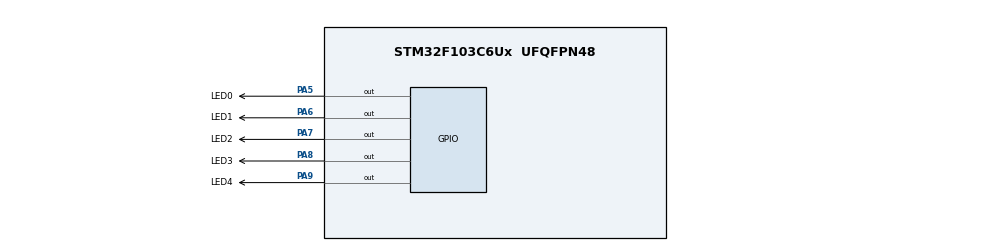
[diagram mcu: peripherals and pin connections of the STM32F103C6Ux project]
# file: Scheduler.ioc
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Mcu.Family=STM32F1
Mcu.Name=STM32F103C6Ux
Mcu.Package=UFQFPN48
NVIC.PriorityGroup=NVIC_PRIORITYGROUP_4
NVIC.TIM2_IRQn=true\:0\:0\:false\:false\:true\:true\:true
PA5.GPIO_Label=LED0
PA5.Signal=GPIO_Output
PA6.GPIO_Label=LED1
PA6.Signal=GPIO_Output
PA7.GPIO_Label=LED2
PA7.Signal=GPIO_Output
PA8.GPIO_Label=LED3
PA8.Signal=GPIO_Output
PA9.GPIO_Label=LED4
PA9.Signal=GPIO_Output
ProjectManager.HeapSize=0x200
ProjectManager.StackSize=0x400
ProjectManager.TargetToolchain=STM32CubeIDE
RCC.APB1Freq_Value=8000000
RCC.APB2Freq_Value=8000000
TIM2.Period=9
TIM2.Prescaler=7999
VP_SYS_VS_ND.Mode=No_Debug
VP_TIM2_VS_ClockSourceINT.Mode=Internal
board=custom

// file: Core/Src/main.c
/* USER CODE BEGIN Header */
/**
  ******************************************************************************
  * @file           : main.c
  * @brief          : Main program body
  ******************************************************************************
  * @attention
  *
  * <h2><center>&copy; Copyright (c) 2023 STMicroelectronics.
  * All rights reserved.</center></h2>
  *
  * This software component is licensed by ST under BSD 3-Clause license,
  * the "License"; You may not use this file except in compliance with the
  * License. You may obtain a copy of the License at:
  *                        opensource.org/licenses/BSD-3-Clause
  *
  ******************************************************************************
  */
/* USER CODE END Header */
#include "main.h"

/* USER CODE BEGIN Includes */
#include "scheduler.h"
/* USER CODE END Includes */

TIM_HandleTypeDef htim2;

void SystemClock_Config(void);
static void MX_GPIO_Init(void);
static void MX_TIM2_Init(void);
/* USER CODE BEGIN PFP */
void ToggleLed0();
void ToggleLed1();
void ToggleLed2();
void ToggleLed3();
void ToggleLed4();
/* USER CODE END PFP */

int main(void)
{

  /* MCU Configuration--------------------------------------------------------*/

  /* Reset of all peripherals, Initializes the Flash interface and the Systick. */
  HAL_Init();

  /* Configure the system clock */
  SystemClock_Config();

  /* Initialize all configured peripherals */
  MX_GPIO_Init();
  MX_TIM2_Init();

  HAL_TIM_Base_Start_IT(&htim2);
  /* USER CODE BEGIN 2 */
  SCH_Init();

  SCH_Add_Task(ToggleLed0, 0, 500);
  SCH_Add_Task(ToggleLed1, 1000, 1000);
  SCH_Add_Task(ToggleLed2, 2000, 1500);
  SCH_Add_Task(ToggleLed3, 3000, 2000);
  SCH_Add_Task(ToggleLed4, 5000, 0);
  /* USER CODE END 2 */

  /* Infinite loop */
  /* USER CODE BEGIN WHILE */
  while (1)
  {
    SCH_Dispatch_Tasks();
    /* USER CODE END WHILE */

  }
}

void SystemClock_Config(void)
{
  RCC_OscInitTypeDef RCC_OscInitStruct = {0};
  RCC_ClkInitTypeDef RCC_ClkInitStruct = {0};

  /** Initializes the RCC Oscillators according to the specified parameters
  * in the RCC_OscInitTypeDef structure.
  */
  RCC_OscInitStruct.OscillatorType = RCC_OSCILLATORTYPE_HSI;
  RCC_OscInitStruct.HSIState = RCC_HSI_ON;
  RCC_OscInitStruct.HSICalibrationValue = RCC_HSICALIBRATION_DEFAULT;
  RCC_OscInitStruct.PLL.PLLState = RCC_PLL_NONE;
  if (HAL_RCC_OscConfig(&RCC_OscInitStruct) != HAL_OK)
  {
    Error_Handler();
  }
  /** Initializes the CPU, AHB and APB buses clocks
  */
  RCC_ClkInitStruct.ClockType = RCC_CLOCKTYPE_HCLK|RCC_CLOCKTYPE_SYSCLK
                              |RCC_CLOCKTYPE_PCLK1|RCC_CLOCKTYPE_PCLK2;
  RCC_ClkInitStruct.SYSCLKSource = RCC_SYSCLKSOURCE_HSI;
  RCC_ClkInitStruct.AHBCLKDivider = RCC_SYSCLK_DIV1;
  RCC_ClkInitStruct.APB1CLKDivider = RCC_HCLK_DIV1;
  RCC_ClkInitStruct.APB2CLKDivider = RCC_HCLK_DIV1;

  if (HAL_RCC_ClockConfig(&RCC_ClkInitStruct, FLASH_LATENCY_0) != HAL_OK)
  {
    Error_Handler();
  }
}

static void MX_TIM2_Init(void)
{

  TIM_ClockConfigTypeDef sClockSourceConfig = {0};
  TIM_MasterConfigTypeDef sMasterConfig = {0};

  htim2.Instance = TIM2;
  htim2.Init.Prescaler = 7999;
  htim2.Init.CounterMode = TIM_COUNTERMODE_UP;
  htim2.Init.Period = 9;
  htim2.Init.ClockDivision = TIM_CLOCKDIVISION_DIV1;
  htim2.Init.AutoReloadPreload = TIM_AUTORELOAD_PRELOAD_DISABLE;
  if (HAL_TIM_Base_Init(&htim2) != HAL_OK)
  {
    Error_Handler();
  }
  sClockSourceConfig.ClockSource = TIM_CLOCKSOURCE_INTERNAL;
  if (HAL_TIM_ConfigClockSource(&htim2, &sClockSourceConfig) != HAL_OK)
  {
    Error_Handler();
  }
  sMasterConfig.MasterOutputTrigger = TIM_TRGO_RESET;
  sMasterConfig.MasterSlaveMode = TIM_MASTERSLAVEMODE_DISABLE;
  if (HAL_TIMEx_MasterConfigSynchronization(&htim2, &sMasterConfig) != HAL_OK)
  {
    Error_Handler();
  }

}

static void MX_GPIO_Init(void)
{
  GPIO_InitTypeDef GPIO_InitStruct = {0};

  /* GPIO Ports Clock Enable */
  __HAL_RCC_GPIOA_CLK_ENABLE();

  /*Configure GPIO pin Output Level */
  HAL_GPIO_WritePin(GPIOA, LED0_Pin|LED1_Pin|LED2_Pin|LED3_Pin
                          |LED4_Pin, GPIO_PIN_RESET);

  /*Configure GPIO pins : LED0_Pin LED1_Pin LED2_Pin LED3_Pin
                           LED4_Pin */
  GPIO_InitStruct.Pin = LED0_Pin|LED1_Pin|LED2_Pin|LED3_Pin
                          |LED4_Pin;
  GPIO_InitStruct.Mode = GPIO_MODE_OUTPUT_PP;
  GPIO_InitStruct.Pull = GPIO_NOPULL;
  GPIO_InitStruct.Speed = GPIO_SPEED_FREQ_LOW;
  HAL_GPIO_Init(GPIOA, &GPIO_InitStruct);

}

/* USER CODE BEGIN 4 */
void ToggleLed0(){
  HAL_GPIO_TogglePin(LED0_GPIO_Port, LED0_Pin);
}
void ToggleLed1(){
  HAL_GPIO_TogglePin(LED1_GPIO_Port, LED1_Pin);
}
void ToggleLed2(){
  HAL_GPIO_TogglePin(LED2_GPIO_Port, LED2_Pin);
}
void ToggleLed3(){
  HAL_GPIO_TogglePin(LED3_GPIO_Port, LED3_Pin);
}
void ToggleLed4(){
  HAL_GPIO_TogglePin(LED4_GPIO_Port, LED4_Pin);
}
/* USER CODE END 4 */

void Error_Handler(void)
{
  __disable_irq();
  while (1)
  {
  }
}

/************************ (C) COPYRIGHT STMicroelectronics *****END OF FILE****/
